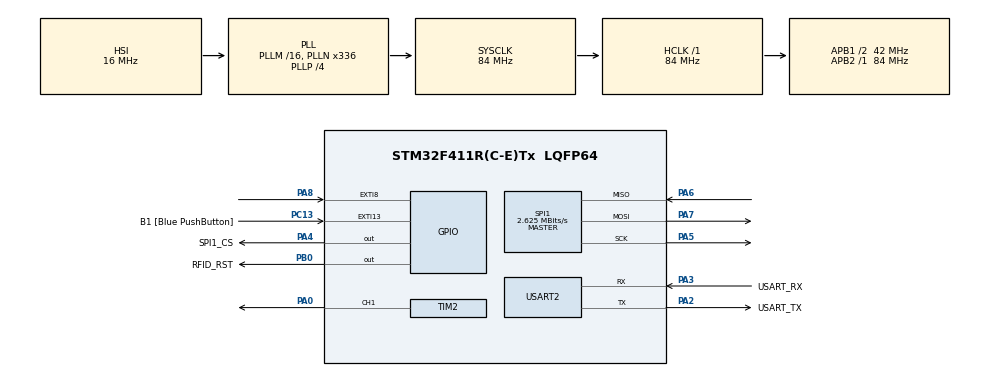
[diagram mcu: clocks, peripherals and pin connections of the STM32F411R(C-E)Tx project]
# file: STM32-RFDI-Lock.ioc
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Mcu.Family=STM32F4
Mcu.Name=STM32F411R(C-E)Tx
Mcu.Package=LQFP64
NVIC.EXTI9_5_IRQn=true\:0\:0\:false\:false\:true\:true\:true\:true
NVIC.PriorityGroup=NVIC_PRIORITYGROUP_0
PA0-WKUP.Signal=S_TIM2_CH1_ETR
PA13.GPIO_Label=TMS
PA13.Mode=Serial_Wire
PA13.Signal=SYS_JTMS-SWDIO
PA14.GPIO_Label=TCK
PA14.Mode=Serial_Wire
PA14.Signal=SYS_JTCK-SWCLK
PA2.GPIO_Label=USART_TX
PA2.Mode=Asynchronous
PA2.Signal=USART2_TX
PA3.GPIO_Label=USART_RX
PA3.Mode=Asynchronous
PA3.Signal=USART2_RX
PA4.GPIO_Label=SPI1_CS
PA4.Signal=GPIO_Output
PA5.Mode=Full_Duplex_Master
PA5.Signal=SPI1_SCK
PA6.Mode=Full_Duplex_Master
PA6.Signal=SPI1_MISO
PA7.Mode=Full_Duplex_Master
PA7.Signal=SPI1_MOSI
PA8.GPIO_ModeDefaultEXTI=GPIO_MODE_IT_FALLING
PA8.GPIO_PuPd=GPIO_PULLUP
PA8.Signal=GPXTI8
PB0.GPIO_Label=RFID_RST
PB0.Signal=GPIO_Output
PB3.GPIO_Label=SWO
PB3.Signal=SYS_JTDO-SWO
PC13-ANTI_TAMP.GPIO_Label=B1 [Blue PushButton]
PC13-ANTI_TAMP.GPIO_ModeDefaultEXTI=GPIO_MODE_IT_FALLING
PC13-ANTI_TAMP.Signal=GPXTI13
PC14-OSC32_IN.Mode=LSE-External-Oscillator
PC14-OSC32_IN.Signal=RCC_OSC32_IN
PC15-OSC32_OUT.Mode=LSE-External-Oscillator
PC15-OSC32_OUT.Signal=RCC_OSC32_OUT
PH0\ -\ OSC_IN.Mode=HSE-External-Clock-Source
PH0\ -\ OSC_IN.Signal=RCC_OSC_IN
PH1\ -\ OSC_OUT.Mode=HSE-External-Clock-Source
PH1\ -\ OSC_OUT.Signal=RCC_OSC_OUT
ProjectManager.HeapSize=0x200
ProjectManager.StackSize=0x400
ProjectManager.TargetToolchain=STM32CubeIDE
RCC.48MHZClocksFreq_Value=84000000
RCC.AHBFreq_Value=84000000
RCC.APB1CLKDivider=RCC_HCLK_DIV2
RCC.APB1Freq_Value=42000000
RCC.APB1TimFreq_Value=84000000
RCC.APB2Freq_Value=84000000
RCC.APB2TimFreq_Value=84000000
RCC.CortexFreq_Value=84000000
RCC.FLatency-AdvancedSettings=FLASH_LATENCY_2
RCC.HCLKFreq_Value=84000000
RCC.HSE_VALUE=8000000
RCC.HSI_VALUE=16000000
RCC.PLLN=336
RCC.PLLP=RCC_PLLP_DIV4
RCC.SYSCLKFreq_VALUE=84000000
RCC.SYSCLKSource=RCC_SYSCLKSOURCE_PLLCLK
RCC.VCOOutputFreq_Value=336000000
SH.S_TIM2_CH1_ETR.0=TIM2_CH1,PWM Generation1 CH1
SPI1.BaudRatePrescaler=SPI_BAUDRATEPRESCALER_32
SPI1.CalculateBaudRate=2.625 MBits/s
SPI1.Direction=SPI_DIRECTION_2LINES
SPI1.Mode=SPI_MODE_MASTER
SPI1.VirtualType=VM_MASTER
TIM2.Channel-PWM\ Generation1\ CH1=TIM_CHANNEL_1
TIM2.Period=19999
TIM2.Prescaler=83
TIM2.Pulse-PWM\ Generation1\ CH1=1500
USART2.VirtualMode=VM_ASYNC
VP_TIM2_VS_ClockSourceINT.Mode=Internal
board=NUCLEO-F411RE

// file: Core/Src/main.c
/* USER CODE BEGIN Header */
/**
  ******************************************************************************
  * @file           : main.c
  * @brief          : Main program body
  ******************************************************************************
  * @attention
  *
  * Copyright (c) 2026 STMicroelectronics.
  * All rights reserved.
  *
  * This software is licensed under terms that can be found in the LICENSE file
  * in the root directory of this software component.
  * If no LICENSE file comes with this software, it is provided AS-IS.
  *
  ******************************************************************************
  */
/* USER CODE END Header */
#include "main.h"

/* USER CODE BEGIN Includes */
#include <stdio.h>
#include "rc522.h"
/* USER CODE END Includes */

SPI_HandleTypeDef hspi1;

TIM_HandleTypeDef htim2;

UART_HandleTypeDef huart2;

/* USER CODE BEGIN PV */

uint8_t MasterKey[4] = {0xC0, 0xF1, 0xFD, 0x5F};

volatile uint8_t openDoor = 0;

/* USER CODE END PV */

void SystemClock_Config(void);
static void MX_GPIO_Init(void);
static void MX_USART2_UART_Init(void);
static void MX_TIM2_Init(void);
static void MX_SPI1_Init(void);

int main(void)
{

  /* MCU Configuration--------------------------------------------------------*/

  /* Reset of all peripherals, Initializes the Flash interface and the Systick. */
  HAL_Init();

  /* Configure the system clock */
  SystemClock_Config();

  /* Initialize all configured peripherals */
  MX_GPIO_Init();
  MX_USART2_UART_Init();
  MX_TIM2_Init();
  MX_SPI1_Init();
  /* USER CODE BEGIN 2 */
  HAL_TIM_PWM_Start(&htim2, TIM_CHANNEL_1);

  MFRC522_Init();
  uint8_t CardID[4];

  /* USER CODE END 2 */

  /* Infinite loop */
  while (1)
  {

    /* USER CODE BEGIN 3 */
	if(MFRC522_Check(CardID) == MI_OK) {
		if (CardID[0] == MasterKey[0] &&
		  CardID[1] == MasterKey[1] &&
		  CardID[2] == MasterKey[2] &&
		  CardID[3] == MasterKey[3])
		{
			openDoor = 1;
		}
	}

	if(openDoor == 1)
	{
		printf("OPEN!\r\n");
		__HAL_TIM_SET_COMPARE(&htim2, TIM_CHANNEL_1, 1500);

		HAL_Delay(5000);

		printf("CLOSE!\r\n");
		__HAL_TIM_SET_COMPARE(&htim2, TIM_CHANNEL_1, 500);

		openDoor = 0;

		HAL_Delay(1000);
	}

  }
  /* USER CODE END 3 */
}

void SystemClock_Config(void)
{
  RCC_OscInitTypeDef RCC_OscInitStruct = {0};
  RCC_ClkInitTypeDef RCC_ClkInitStruct = {0};

  /** Configure the main internal regulator output voltage
  */
  __HAL_RCC_PWR_CLK_ENABLE();
  __HAL_PWR_VOLTAGESCALING_CONFIG(PWR_REGULATOR_VOLTAGE_SCALE1);

  /** Initializes the RCC Oscillators according to the specified parameters
  * in the RCC_OscInitTypeDef structure.
  */
  RCC_OscInitStruct.OscillatorType = RCC_OSCILLATORTYPE_HSI;
  RCC_OscInitStruct.HSIState = RCC_HSI_ON;
  RCC_OscInitStruct.HSICalibrationValue = RCC_HSICALIBRATION_DEFAULT;
  RCC_OscInitStruct.PLL.PLLState = RCC_PLL_ON;
  RCC_OscInitStruct.PLL.PLLSource = RCC_PLLSOURCE_HSI;
  RCC_OscInitStruct.PLL.PLLM = 16;
  RCC_OscInitStruct.PLL.PLLN = 336;
  RCC_OscInitStruct.PLL.PLLP = RCC_PLLP_DIV4;
  RCC_OscInitStruct.PLL.PLLQ = 4;
  if (HAL_RCC_OscConfig(&RCC_OscInitStruct) != HAL_OK)
  {
    Error_Handler();
  }

  /** Initializes the CPU, AHB and APB buses clocks
  */
  RCC_ClkInitStruct.ClockType = RCC_CLOCKTYPE_HCLK|RCC_CLOCKTYPE_SYSCLK
                              |RCC_CLOCKTYPE_PCLK1|RCC_CLOCKTYPE_PCLK2;
  RCC_ClkInitStruct.SYSCLKSource = RCC_SYSCLKSOURCE_PLLCLK;
  RCC_ClkInitStruct.AHBCLKDivider = RCC_SYSCLK_DIV1;
  RCC_ClkInitStruct.APB1CLKDivider = RCC_HCLK_DIV2;
  RCC_ClkInitStruct.APB2CLKDivider = RCC_HCLK_DIV1;

  if (HAL_RCC_ClockConfig(&RCC_ClkInitStruct, FLASH_LATENCY_2) != HAL_OK)
  {
    Error_Handler();
  }
}

static void MX_SPI1_Init(void)
{

  /* SPI1 parameter configuration*/
  hspi1.Instance = SPI1;
  hspi1.Init.Mode = SPI_MODE_MASTER;
  hspi1.Init.Direction = SPI_DIRECTION_2LINES;
  hspi1.Init.DataSize = SPI_DATASIZE_8BIT;
  hspi1.Init.CLKPolarity = SPI_POLARITY_LOW;
  hspi1.Init.CLKPhase = SPI_PHASE_1EDGE;
  hspi1.Init.NSS = SPI_NSS_SOFT;
  hspi1.Init.BaudRatePrescaler = SPI_BAUDRATEPRESCALER_32;
  hspi1.Init.FirstBit = SPI_FIRSTBIT_MSB;
  hspi1.Init.TIMode = SPI_TIMODE_DISABLE;
  hspi1.Init.CRCCalculation = SPI_CRCCALCULATION_DISABLE;
  hspi1.Init.CRCPolynomial = 10;
  if (HAL_SPI_Init(&hspi1) != HAL_OK)
  {
    Error_Handler();
  }

}

static void MX_TIM2_Init(void)
{

  TIM_ClockConfigTypeDef sClockSourceConfig = {0};
  TIM_MasterConfigTypeDef sMasterConfig = {0};
  TIM_OC_InitTypeDef sConfigOC = {0};

  htim2.Instance = TIM2;
  htim2.Init.Prescaler = 83;
  htim2.Init.CounterMode = TIM_COUNTERMODE_UP;
  htim2.Init.Period = 19999;
  htim2.Init.ClockDivision = TIM_CLOCKDIVISION_DIV1;
  htim2.Init.AutoReloadPreload = TIM_AUTORELOAD_PRELOAD_DISABLE;
  if (HAL_TIM_Base_Init(&htim2) != HAL_OK)
  {
    Error_Handler();
  }
  sClockSourceConfig.ClockSource = TIM_CLOCKSOURCE_INTERNAL;
  if (HAL_TIM_ConfigClockSource(&htim2, &sClockSourceConfig) != HAL_OK)
  {
    Error_Handler();
  }
  if (HAL_TIM_PWM_Init(&htim2) != HAL_OK)
  {
    Error_Handler();
  }
  sMasterConfig.MasterOutputTrigger = TIM_TRGO_RESET;
  sMasterConfig.MasterSlaveMode = TIM_MASTERSLAVEMODE_DISABLE;
  if (HAL_TIMEx_MasterConfigSynchronization(&htim2, &sMasterConfig) != HAL_OK)
  {
    Error_Handler();
  }
  sConfigOC.OCMode = TIM_OCMODE_PWM1;
  sConfigOC.Pulse = 1500;
  sConfigOC.OCPolarity = TIM_OCPOLARITY_HIGH;
  sConfigOC.OCFastMode = TIM_OCFAST_DISABLE;
  if (HAL_TIM_PWM_ConfigChannel(&htim2, &sConfigOC, TIM_CHANNEL_1) != HAL_OK)
  {
    Error_Handler();
  }
  HAL_TIM_MspPostInit(&htim2);

}

static void MX_USART2_UART_Init(void)
{

  huart2.Instance = USART2;
  huart2.Init.BaudRate = 115200;
  huart2.Init.WordLength = UART_WORDLENGTH_8B;
  huart2.Init.StopBits = UART_STOPBITS_1;
  huart2.Init.Parity = UART_PARITY_NONE;
  huart2.Init.Mode = UART_MODE_TX_RX;
  huart2.Init.HwFlowCtl = UART_HWCONTROL_NONE;
  huart2.Init.OverSampling = UART_OVERSAMPLING_16;
  if (HAL_UART_Init(&huart2) != HAL_OK)
  {
    Error_Handler();
  }

}

static void MX_GPIO_Init(void)
{
  GPIO_InitTypeDef GPIO_InitStruct = {0};

  /* GPIO Ports Clock Enable */
  __HAL_RCC_GPIOC_CLK_ENABLE();
  __HAL_RCC_GPIOH_CLK_ENABLE();
  __HAL_RCC_GPIOA_CLK_ENABLE();
  __HAL_RCC_GPIOB_CLK_ENABLE();

  /*Configure GPIO pin Output Level */
  HAL_GPIO_WritePin(SPI1_CS_GPIO_Port, SPI1_CS_Pin, GPIO_PIN_RESET);

  /*Configure GPIO pin Output Level */
  HAL_GPIO_WritePin(RFID_RST_GPIO_Port, RFID_RST_Pin, GPIO_PIN_RESET);

  /*Configure GPIO pin : B1_Pin */
  GPIO_InitStruct.Pin = B1_Pin;
  GPIO_InitStruct.Mode = GPIO_MODE_IT_FALLING;
  GPIO_InitStruct.Pull = GPIO_NOPULL;
  HAL_GPIO_Init(B1_GPIO_Port, &GPIO_InitStruct);

  /*Configure GPIO pin : SPI1_CS_Pin */
  GPIO_InitStruct.Pin = SPI1_CS_Pin;
  GPIO_InitStruct.Mode = GPIO_MODE_OUTPUT_PP;
  GPIO_InitStruct.Pull = GPIO_NOPULL;
  GPIO_InitStruct.Speed = GPIO_SPEED_FREQ_LOW;
  HAL_GPIO_Init(SPI1_CS_GPIO_Port, &GPIO_InitStruct);

  /*Configure GPIO pin : RFID_RST_Pin */
  GPIO_InitStruct.Pin = RFID_RST_Pin;
  GPIO_InitStruct.Mode = GPIO_MODE_OUTPUT_PP;
  GPIO_InitStruct.Pull = GPIO_NOPULL;
  GPIO_InitStruct.Speed = GPIO_SPEED_FREQ_LOW;
  HAL_GPIO_Init(RFID_RST_GPIO_Port, &GPIO_InitStruct);

  /*Configure GPIO pin : PA8 */
  GPIO_InitStruct.Pin = GPIO_PIN_8;
  GPIO_InitStruct.Mode = GPIO_MODE_IT_FALLING;
  GPIO_InitStruct.Pull = GPIO_PULLUP;
  HAL_GPIO_Init(GPIOA, &GPIO_InitStruct);

  /* EXTI interrupt init*/
  HAL_NVIC_SetPriority(EXTI9_5_IRQn, 0, 0);
  HAL_NVIC_EnableIRQ(EXTI9_5_IRQn);

}

/* USER CODE BEGIN 4 */
int _write(int file, char *ptr, int len) {
    HAL_UART_Transmit(&huart2, (uint8_t *)ptr, len, HAL_MAX_DELAY);
    return len;
}

void HAL_GPIO_EXTI_Callback(uint16_t GPIO_Pin)
{
  if(GPIO_Pin == GPIO_PIN_8)
  {
	  openDoor = 1;
  }
}

/* USER CODE END 4 */

void Error_Handler(void)
{
  __disable_irq();
  while (1)
  {
  }
}
